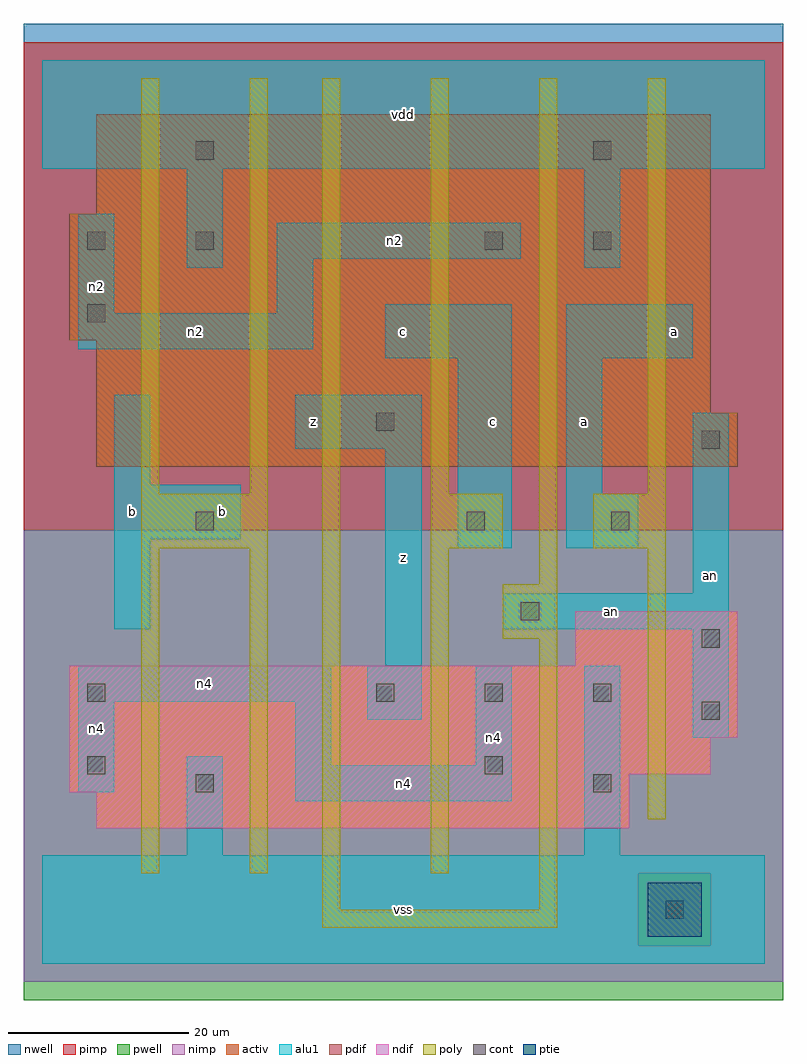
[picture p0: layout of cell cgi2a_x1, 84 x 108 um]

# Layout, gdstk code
import gdstk
lib = gdstk.Library(unit=1e-6, precision=1e-09)
def R(c, l, rs):  # rectangles x0, y0, x1, y1
    for r in rs: c.add(gdstk.rectangle(r[:2], r[2:], *l))
def A(c, l, x, y, w, h, nx, ny, dx, dy):  # array of equal rectangles
    R(c, l, [(x+i*dx, y+j*dy, x+i*dx+w, y+j*dy+h) for i in range(nx) for j in range(ny)])
ndif = (3, 0)
pdif = (4, 0)
ptie = (6, 0)
cont = (25, 0)
pwell = (41, 0)
nwell = (42, 0)
activ = (43, 0)
pimp = (44, 0)
nimp = (45, 0)
poly = (46, 0)
alu1 = (49, 0)

cgi2a_x1 = lib.new_cell('cgi2a_x1')
R(cgi2a_x1, ndif, [(6,15,65,19), (3,19,65,21), (3,21,74,25), (3,25,77,33), (59,33,77,39)])
R(cgi2a_x1, pdif, [(6,55,77,61), (6,61,74,69), (3,69,74,83), (6,83,74,94)])
R(cgi2a_x1, ptie, [(67,3,73,9)])
A(cgi2a_x1, cont, 37, 29, 2, 2, 3, 1, 12, 0)
R(cgi2a_x1, cont, [(69,5,71,7), (17,19,19,21), (61,19,63,21), (5,21,7,23), (49,21,51,23), (73,27,75,29), (5,29,7,31), (73,35,75,37), (53,38,55,40), (17,48,19,50), (47,48,49,50), (63,48,65,50), (73,57,75,59), (37,59,39,61), (5,71,7,73), (5,79,7,81), (17,79,19,81), (49,79,51,81), (61,79,63,81), (17,89,19,91), (61,89,63,91)])
R(cgi2a_x1, pwell, [(-2,-4,82,48)])
R(cgi2a_x1, nwell, [(-2,48,82,104)])
R(cgi2a_x1, activ, [(67,3,73,9), (6,15,65,19), (3,19,65,21), (3,21,74,25), (3,25,77,33), (59,33,77,39), (6,55,77,61), (6,61,74,69), (3,69,74,83), (6,83,74,94)])
R(cgi2a_x1, pimp, [(66,2,74,10), (-2,48,82,102)])
R(cgi2a_x1, nimp, [(-2,-2,82,2), (-2,2,66,10), (74,2,82,10), (-2,10,82,48)])
R(cgi2a_x1, poly, [(31,4,57,6), (31,6,33,98), (55,6,57,36), (11,10,13,46), (23,10,25,46), (43,10,45,46), (67,16,69,46), (51,36,57,42), (55,42,57,98), (11,46,25,52), (43,46,51,52), (61,46,69,52), (11,52,13,98), (23,52,25,98), (43,52,45,98), (67,52,69,98)])
R(cgi2a_x1, alu1, [(0,0,80,12), (16,12,20,23), (60,12,64,33), (28,18,52,22), (4,19,8,29), (28,22,32,29), (48,22,52,33), (72,25,76,37), (36,27,42,33), (4,29,32,33), (38,33,42,57), (8,37,12,47), (51,37,76,41), (72,41,76,61), (46,46,52,67), (58,46,66,52), (8,47,22,53), (58,52,62,67), (8,53,12,63), (28,57,42,63), (38,67,52,73), (58,67,72,73), (4,68,30,72), (4,72,8,83), (26,72,30,78), (16,77,20,88), (60,77,64,88), (26,78,53,82), (0,88,80,100)])
cgi2a_x1.add(gdstk.Label('n4', (6,26), layer=49, texttype=0))
cgi2a_x1.add(gdstk.Label('b', (10,50), layer=49, texttype=0))
cgi2a_x1.add(gdstk.Label('n2', (6,75), layer=49, texttype=0))
cgi2a_x1.add(gdstk.Label('b', (20,50), layer=49, texttype=0))
cgi2a_x1.add(gdstk.Label('n2', (17,70), layer=49, texttype=0))
cgi2a_x1.add(gdstk.Label('vss', (40,6), layer=49, texttype=0))
cgi2a_x1.add(gdstk.Label('n4', (18,31), layer=49, texttype=0))
cgi2a_x1.add(gdstk.Label('z', (40,45), layer=49, texttype=0))
cgi2a_x1.add(gdstk.Label('z', (30,60), layer=49, texttype=0))
cgi2a_x1.add(gdstk.Label('c', (40,70), layer=49, texttype=0))
cgi2a_x1.add(gdstk.Label('vdd', (40,94), layer=49, texttype=0))
cgi2a_x1.add(gdstk.Label('n4', (50,25), layer=49, texttype=0))
cgi2a_x1.add(gdstk.Label('n4', (40,20), layer=49, texttype=0))
cgi2a_x1.add(gdstk.Label('a', (60,60), layer=49, texttype=0))
cgi2a_x1.add(gdstk.Label('c', (50,60), layer=49, texttype=0))
cgi2a_x1.add(gdstk.Label('n2', (39,80), layer=49, texttype=0))
cgi2a_x1.add(gdstk.Label('an', (63,39), layer=49, texttype=0))
cgi2a_x1.add(gdstk.Label('an', (74,43), layer=49, texttype=0))
cgi2a_x1.add(gdstk.Label('a', (70,70), layer=49, texttype=0))

lib.write_gds('cgi2a_x1.gds')
